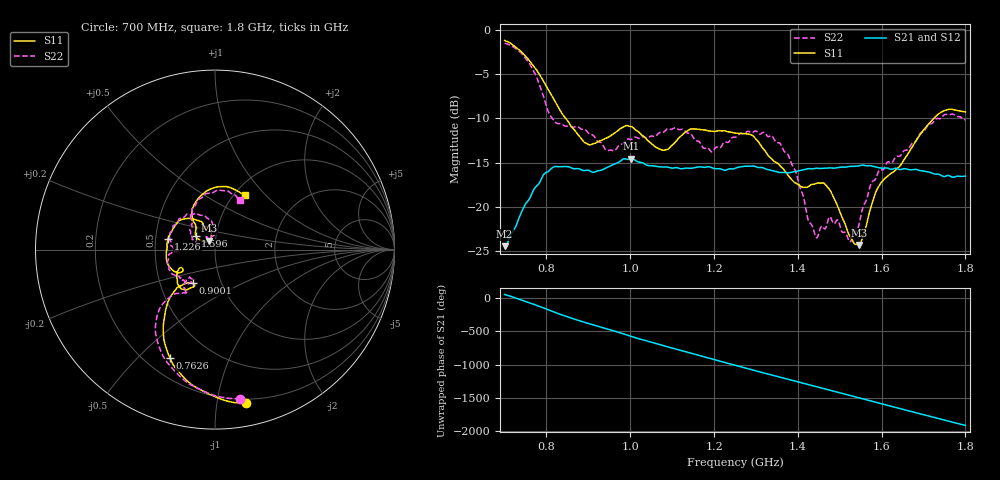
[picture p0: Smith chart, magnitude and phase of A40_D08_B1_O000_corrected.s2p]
! Created with skrf 1.9.0 (http://scikit-rf.org).
# Hz S RI R 50.0
!freq ReS11 ImS11 ReS21 ImS21 ReS12 ImS12 ReS22 ImS22
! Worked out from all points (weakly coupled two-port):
!   1601 points, 700 MHz to 1.8 GHz, reference 50 ohm
!   highest |S21| = -14.55 dB at 1.002 GHz (marker M1); lowest = -24.5 dB at 700 MHz (marker M2)
!   lowest |S11| = -24.3 dB at 1.546 GHz (marker M3), VSWR 1.13, Z = 46.4 + j4.63 ohm
!   |S11| at or under -10 dB: 846 MHz to 1.724 GHz (878.5 MHz wide, 68.4 % of centre)
!   |S22| runs from -24.0 to -1.5 dB; largest |S21 - S12| = 0.0036
!   S11 on the Smith chart (normalised r, x): 700 MHz: 0.17, -1.21; 762.6 MHz: 0.30, -0.63; 900.1 MHz: 0.73, -0.29; 1.226 GHz: 0.58, +0.07; 1.596 GHz: 0.80, +0.13; 1.8 GHz: 1.12, +0.77
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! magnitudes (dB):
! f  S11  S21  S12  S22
! 700 MHz  -1.2  -24.5  -24.3  -1.5
! 762.6 MHz  -3.7  -18.8  -18.7  -4.1
! 816.9 MHz  -7.8  -15.5  -15.6  -10.2
! 883.6 MHz  -12.3  -15.8  -15.7  -11.2
! 900.1 MHz  -13.0  -15.9  -15.9  -11.7
! 946.1 MHz  -12.2  -15.5  -15.5  -13.7
! 1.002 GHz  -10.9  -14.5  -14.7  -12.4
! 1.067 GHz  -13.4  -15.5  -15.4  -11.7
! 1.145 GHz  -11.2  -15.7  -15.7  -11.8
! 1.226 GHz  -11.4  -15.9  -15.8  -12.7
! 1.25 GHz  -11.7  -15.7  -15.6  -12.1
! 1.358 GHz  -15.4  -16.1  -16.1  -12.9
! 1.394 GHz  -17.3  -16.0  -16.0  -15.9
! 1.434 GHz  -17.5  -15.7  -15.7  -22.1
! 1.445 GHz  -17.3  -15.6  -15.7  -23.5
! 1.471 GHz  -17.8  -15.6  -15.6  -21.6
! 1.524 GHz  -23.3  -15.4  -15.4  -24.0
! 1.546 GHz  -24.3  -15.4  -15.3  -22.0
! 1.596 GHz  -17.5  -15.6  -15.6  -15.8
! 1.617 GHz  -16.4  -15.7  -15.6  -14.9
! 1.733 GHz  -9.6  -16.3  -16.3  -10.0
! 1.8 GHz  -9.3  -16.5  -16.5  -10.1
